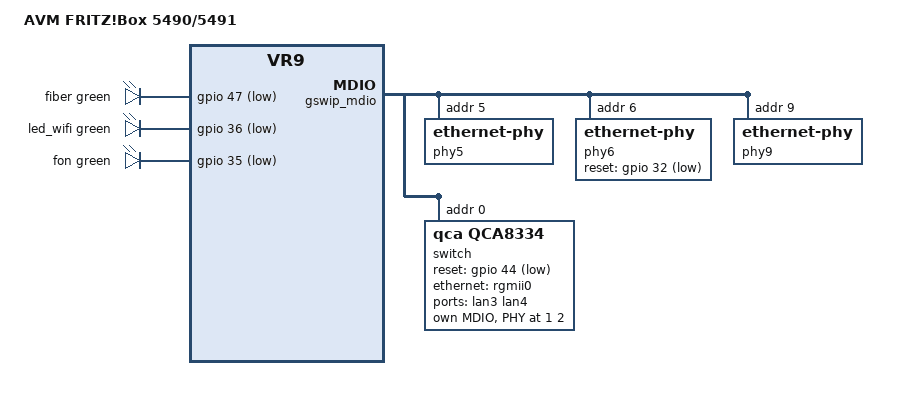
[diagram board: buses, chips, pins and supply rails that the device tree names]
// SPDX-License-Identifier: GPL-2.0-or-later OR MIT

#include <dt-bindings/leds/common.h>

#include "vr9_avm_fritzxx90.dtsi"

/ {
	compatible = "avm,fritz5490", "lantiq,xway", "lantiq,vr9";
	model = "AVM FRITZ!Box 5490/5491";
};

&aliases {
	led-wifi = &led_wifi;
};

&leds {
	fiber {
		function = "fiber";
		color = <LED_COLOR_ID_GREEN>;
		gpios = <&gpio 47 GPIO_ACTIVE_LOW>;
	};

	led_wifi: wifi {
		function = LED_FUNCTION_WLAN;
		color = <LED_COLOR_ID_GREEN>;
		gpios = <&gpio 36 GPIO_ACTIVE_LOW>;
	};

	fon {
		function = "fon";
		color = <LED_COLOR_ID_GREEN>;
		gpios = <&gpio 35 GPIO_ACTIVE_LOW>;
	};
};

&gswip_mdio {
	phy5: ethernet-phy@5 {
		reg = <0x05>;
	};

	phy6: ethernet-phy@6 {
		reg = <0x06>;
		reset-gpios = <&gpio 32 GPIO_ACTIVE_LOW>;
	};

	phy9: ethernet-phy@9 {
		reg = <0x09>;
	};

	switch@0 {
		compatible = "qca,qca8334";
		#address-cells = <1>;
		#size-cells = <0>;

		reset-gpios = <&gpio 44 GPIO_ACTIVE_LOW>;
		reg = <0>;

		dsa,member = <1 0>;

		ports {
			#address-cells = <1>;
			#size-cells = <0>;

			port@0 {
				reg = <0>;
				ethernet = <&rgmii0>;
				phy-mode = "rgmii-txid";
				tx-internal-delay-ps = <3000>;

				fixed-link {
					speed = <1000>;
					full-duplex;
				};
			};

			port@2 {
				reg = <2>;
				label = "lan3";
				phy-mode = "internal";
				phy-handle = <&phy_port2>;
			};

			port@3 {
				reg = <3>;
				label = "lan4";
				phy-mode = "internal";
				phy-handle = <&phy_port3>;
			};
		};

		mdio {
			#address-cells = <1>;
			#size-cells = <0>;

			phy_port2: phy@1 {
				reg = <1>;
			};

			phy_port3: phy@2 {
				reg = <2>;
			};
		};
	};
};

&gswip_ports {
	port@0 {
		reg = <0>;
		label = "wan";
		phy-mode = "rgmii-rxid";
		phy-handle = <&phy6>;
	};

	rgmii0: port@1 {
		reg = <1>;
		label = "sw0";
		phy-mode = "rgmii";

		fixed-link {
			speed = <1000>;
			full-duplex;
		};
	};

	port@2 {
		reg = <2>;
		label = "lan2";
		phy-mode = "internal";
		phy-handle = <&phy5>;
	};

	port@4 {
		reg = <4>;
		label = "lan1";
		phy-mode = "internal";
		phy-handle = <&phy9>;
	};
};
